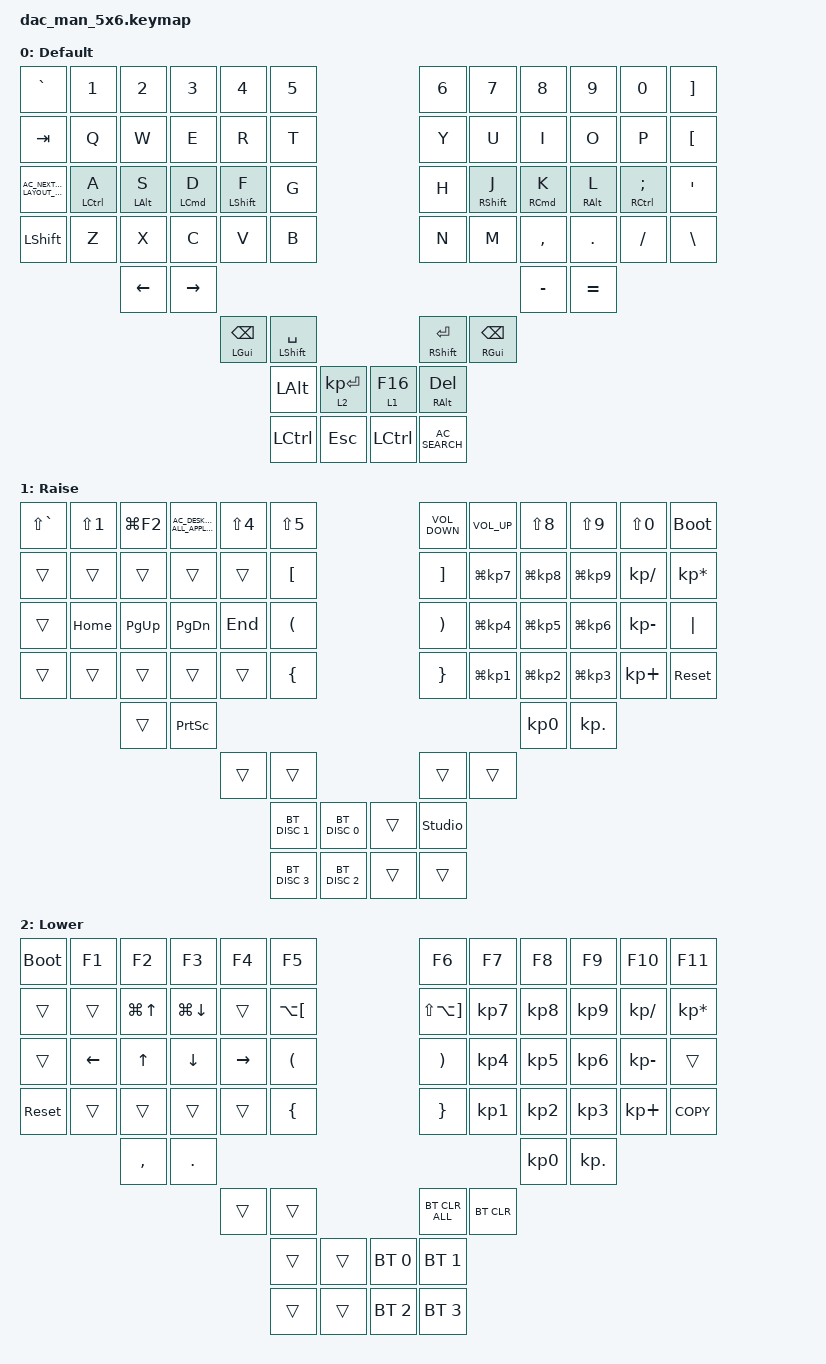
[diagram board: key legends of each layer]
#include <behaviors.dtsi>
#include <dt-bindings/zmk/bt.h>
#include <dt-bindings/zmk/keys.h>

#define DEFAULT 0
#define RAISE   1
#define LOWER   2

/ {
    behaviors {
        letter_T_behavior: letter_T_behavior {
            compatible = "zmk,behavior-hold-tap";
            label = "LETTER_T_BEHAVIOR";
            bindings = <&kp>, <&kp>;

            #binding-cells = <2>;
            tapping-term-ms = <200>;
            flavor = "balanced";
        };

        hml: hml {
            compatible = "zmk,behavior-hold-tap";
            label = "HML";
            bindings = <&kp>, <&kp>;

            #binding-cells = <2>;
            flavor = "balanced";
            tapping-term-ms = <280>;
            quick-tap-ms = <175>;
            require-prior-idle-ms = <150>;
            hold-trigger-on-release;
            // Right half, without the thumb cluster.
            hold-trigger-key-positions = <
                 6  7  8  9 10 11
                18 19 20 21 22 23
                30 31 32 33 34 35
                42 43 44 45 46 47
                50 51
            >;
        };

        hmr: hmr {
            compatible = "zmk,behavior-hold-tap";
            label = "HMR";
            bindings = <&kp>, <&kp>;

            #binding-cells = <2>;
            flavor = "balanced";
            tapping-term-ms = <280>;
            quick-tap-ms = <175>;
            require-prior-idle-ms = <150>;
            hold-trigger-on-release;
            // Left half, without the thumb cluster.
            hold-trigger-key-positions = <
                 0  1  2  3  4  5
                12 13 14 15 16 17
                24 25 26 27 28 29
                36 37 38 39 40 41
                48 49
            >;
        };
    };

    keymap {
        compatible = "zmk,keymap";

        default_layer {
            display-name = "Default";
            // Commented layout is not actual layout.
            // -------------------------------------------------------------------------------------------------------------------------
            // |   ESC   |    1    |    2    |    3    |    4    |    5    |                   |    6    |    7    |    8    |    9    |    0    |  BSPC   |
            // |   TAB   |    Q    |    W    |    E    |    R    |    T    |                   |    Y    |    U    |    I    |    O    |    P    |    \    |
            // |  LALT   |    A    |    S    |    D    |    F    |    G    |                   |    H    |    J    |    K    |    L    |    ;    |    '    |
            // |  LCTRL  |    Z    |    X    |    C    |    V    |    B    |                   |    N    |    M    |    ,    |    .    |    /    |  RALT   |
            //                     |    [    |    ]    |                                                           |    -    |    =    |
            //                               | MO lay 1| SPACE   |                   | ENTER   | MO lay 2|
            //                                         |   TAB   |   HOME  |   END   |   DEL   |
            //                                         |  Raise  |    ~    |   GUI   |  Lower  |

            bindings = <
&kp GRAVE                             &kp N1        &kp N2           &kp N3       &kp N4              &kp N5                                           &kp N6                &kp N7                   &kp N8     &kp N9     &kp N0         &kp RIGHT_BRACKET
&kp TAB                               &kp Q         &kp W            &kp E        &kp R               &kp T                                            &kp Y                 &kp U                    &kp I      &kp O      &kp P          &kp LEFT_BRACKET
&kp C_AC_NEXT_KEYBOARD_LAYOUT_SELECT  &hml LCTRL A  &hml LEFT_ALT S  &hml LCMD D  &hml LEFT_SHIFT F   &kp G                                            &kp H                 &hmr RSHFT J             &hmr RCMD K &hmr RIGHT_ALT L &hmr RCTRL SEMICOLON &kp SQT
&kp LSHIFT                            &kp Z         &kp X            &kp C        &kp V               &kp B                                            &kp N                 &kp M                    &kp COMMA  &kp DOT    &kp FSLH       &kp BACKSLASH
                                                    &kp LEFT         &kp RIGHT                                                                                                                        &kp MINUS  &kp EQUAL
                                                                                  &mt LGUI BACKSPACE  &mt LEFT_SHIFT SPACE                             &mt RSHFT ENTER       &mt RIGHT_GUI BACKSPACE
                                                                                                      &kp LEFT_ALT          &lt 2 KP_ENTER  &lt 1 F16  &mt RIGHT_ALT DELETE
                                                                                                      &kp LCTRL             &kp ESCAPE      &kp LCTRL  &kp C_AC_SEARCH
            >;
        };

        raise {
            display-name = "Raise";
            // commented layout is not actual layout.
            // -------------------------------------------------------------------------------------------------------------------------
            // |   esc   |    1    |    2    |    3    |    4    |    5    |                   |    6    |    7    |    8    |    9    |    0    |  bspc   |
            // |   tab   |    q    |    w    |    e    |    r    |    t    |                   |    y    |    u    |    i    |    o    |    p    |    \    |
            // |  lalt   |    a    |    s    |    d    |    f    |    g    |                   |    h    |    j    |    k    |    l    |    ;    |    '    |
            // |  lctrl  |    z    |    x    |    c    |    v    |    b    |                   |    n    |    m    |    ,    |    .    |    /    |  ralt   |
            //                     |    [    |    ]    |                                                           |    -    |    =    |
            //                               | mo lay 1| space   |                   | enter   | mo lay 2|
            //                                         |   tab   |   home  |   end   |   del   |
            //                                         |  raise  |    ~    |   gui   |  lower  |

            bindings = <
&kp LS(GRAVE)  &kp LS(NUMBER_1)  &kp LG(F2)  &kp C_AC_DESKTOP_SHOW_ALL_APPLICATIONS  &kp LS(NUMBER_4)  &kp LS(NUMBER_5)                         &kp C_VOLUME_DOWN  &kp C_VOLUME_UP      &kp LS(NUMBER_8)     &kp LS(NUMBER_9)     &kp LS(NUMBER_0)  &bootloader
&trans         &trans            &trans      &trans                                  &trans            &kp LEFT_BRACKET                         &kp RBKT           &kp LG(KP_NUMBER_7)  &kp LG(KP_NUMBER_8)  &kp LG(KP_NUMBER_9)  &kp KP_DIVIDE     &kp KP_ASTERISK
&trans         &kp HOME          &kp PG_UP   &kp PG_DN                               &kp END           &kp LPAR                                 &kp RPAR           &kp LG(KP_NUMBER_4)  &kp LG(KP_NUMBER_5)  &kp LG(KP_NUMBER_6)  &kp KP_SUBTRACT   &kp PIPE
&trans         &trans            &trans      &trans                                  &trans            &kp LEFT_BRACE                           &kp RIGHT_BRACE    &kp LG(KP_NUMBER_1)  &kp LG(KP_NUMBER_2)  &kp LG(KP_NUMBER_3)  &kp KP_PLUS       &sys_reset
                                 &trans      &kp PSCRN                                                                                                                                  &kp KP_NUMBER_0      &kp KP_DOT
                                                                                     &trans            &trans                                   &trans             &trans
                                                                                                       &bt BT_DISC 1     &bt BT_DISC 0  &trans  &studio_unlock
                                                                                                       &bt BT_DISC 3     &bt BT_DISC 2  &trans  &trans
            >;
        };

        lower {
            display-name = "Lower";
            // commented layout is not actual layout.
            // -------------------------------------------------------------------------------------------------------------------------
            // |   esc   |    1    |    2    |    3    |    4    |    5    |                   |    6    |    7    |    8    |    9    |    0    |  bspc   |
            // |   tab   |    q    |    w    |    e    |    r    |    t    |                   |    y    |    u    |    i    |    o    |    p    |    \    |
            // |  lalt   |    a    |    s    |    d    |    f    |    g    |                   |    h    |    j    |    k    |    l    |    ;    |    '    |
            // |  lctrl  |    z    |    x    |    c    |    v    |    b    |                   |    n    |    m    |    ,    |    .    |    /    |  ralt   |
            //                     |    [    |    ]    |                                                           |    -    |    =    |
            //                               | mo lay 1| space   |                   | enter   | mo lay 2|
            //                                         |   tab   |   home  |   end   |   del   |
            //                                         |  raise  |    ~    |   gui   |  lower  |

            bindings = <
&bootloader  &kp F1    &kp F2            &kp F3        &kp F4     &kp F5                                      &kp F6                     &kp F7           &kp F8           &kp F9           &kp F10       &kp F11
&trans       &trans    &kp LG(UP_ARROW)  &kp LG(DOWN)  &trans     &kp LA(LEFT_BRACKET)                        &kp LS(LA(RIGHT_BRACKET))  &kp KP_NUMBER_7  &kp KP_NUMBER_8  &kp KP_NUMBER_9  &kp KP_SLASH  &kp KP_MULTIPLY
&trans       &kp LEFT  &kp UP            &kp DOWN      &kp RIGHT  &kp LEFT_PARENTHESIS                        &kp RIGHT_PARENTHESIS      &kp KP_NUMBER_4  &kp KP_NUMBER_5  &kp KP_NUMBER_6  &kp KP_MINUS  &trans
&sys_reset   &trans    &trans            &trans        &trans     &kp LEFT_BRACE                              &kp RIGHT_BRACE            &kp KP_NUMBER_1  &kp KP_NUMBER_2  &kp KP_NUMBER_3  &kp KP_PLUS   &kp K_COPY
                       &kp COMMA         &kp PERIOD                                                                                                       &kp KP_NUMBER_0  &kp KP_DOT
                                                       &trans     &trans                                      &bt BT_CLR_ALL             &bt BT_CLR
                                                                  &trans                &trans  &bt BT_SEL 0  &bt BT_SEL 1
                                                                  &trans                &trans  &bt BT_SEL 2  &bt BT_SEL 3
            >;
        };

        extra_1 {
            status = "reserved";
            display-name = "Extra 1";
        };

        extra_2 {
            status = "reserved";
            display-name = "Extra 2";
        };
    };
};
